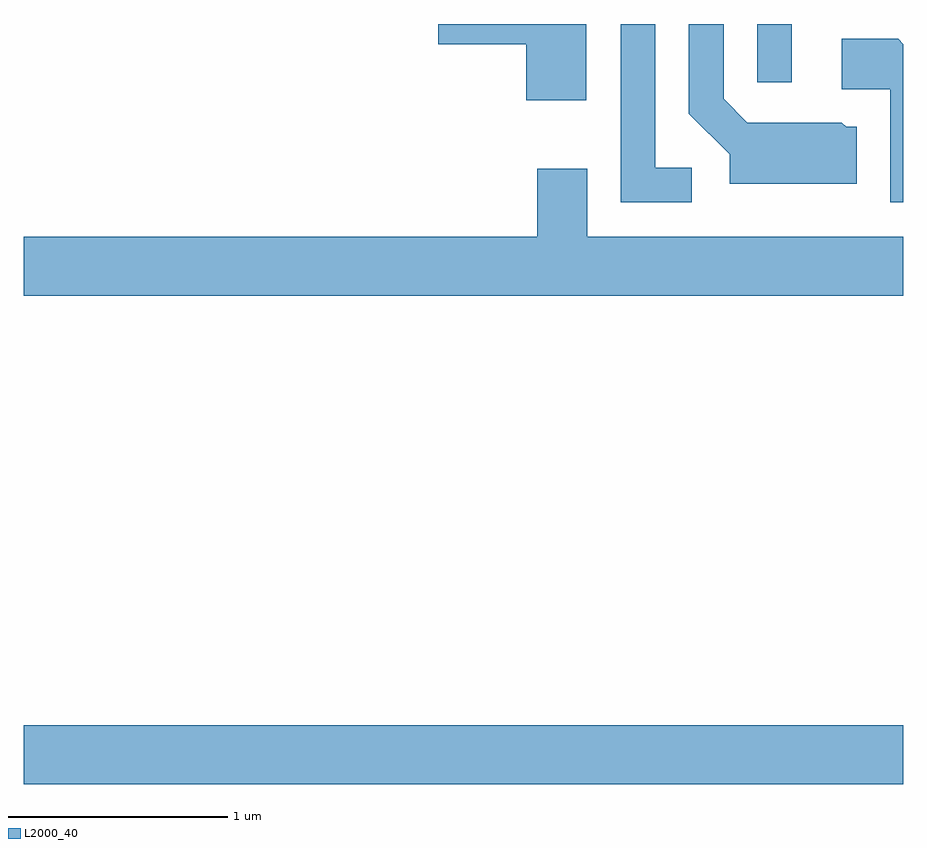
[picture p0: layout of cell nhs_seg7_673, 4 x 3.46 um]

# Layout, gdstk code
import gdstk
lib = gdstk.Library(unit=1e-6, precision=1e-09)
def R(c, l, rs):  # rectangles x0, y0, x1, y1
    for r in rs: c.add(gdstk.rectangle(r[:2], r[2:], *l))
def P(c, l, *ps):  # polygons
    for p in ps: c.add(gdstk.Polygon(p, *l))
L2000_40 = (2000, 40)

nhs_seg7_673 = lib.new_cell('nhs_seg7_673')
R(nhs_seg7_673, L2000_40, [(205.611,1678.796,209.611,1679.064), (208.946,1681.988,209.104,1682.252)])
P(nhs_seg7_673, L2000_40, [(208.169,1682.252),(207.496,1682.252),(207.496,1682.161),(207.896,1682.161),(207.896,1681.906),(208.169,1681.906)],
  [(208.648,1681.599),(208.484,1681.599),(208.484,1682.252),(208.326,1682.252),(208.326,1681.441),(208.648,1681.441)],
  [(209.399,1681.784),(209.352,1681.784),(209.332,1681.804),(208.902,1681.804),(208.794,1681.912),(208.794,1682.252),(208.636,1682.252),(208.636,1681.844),(208.821,1681.659),(208.821,1681.526),(209.399,1681.526)],
  [(209.611,1682.16),(209.587,1682.184),(209.331,1682.184),(209.331,1681.956),(209.551,1681.956),(209.551,1681.441),(209.611,1681.441)],
  [(209.611,1681.284),(208.174,1681.284),(208.174,1681.594),(207.946,1681.594),(207.946,1681.284),(205.611,1681.284),(205.611,1681.016),(209.611,1681.016)])

lib.write_gds('nhs_seg7_673.gds')
